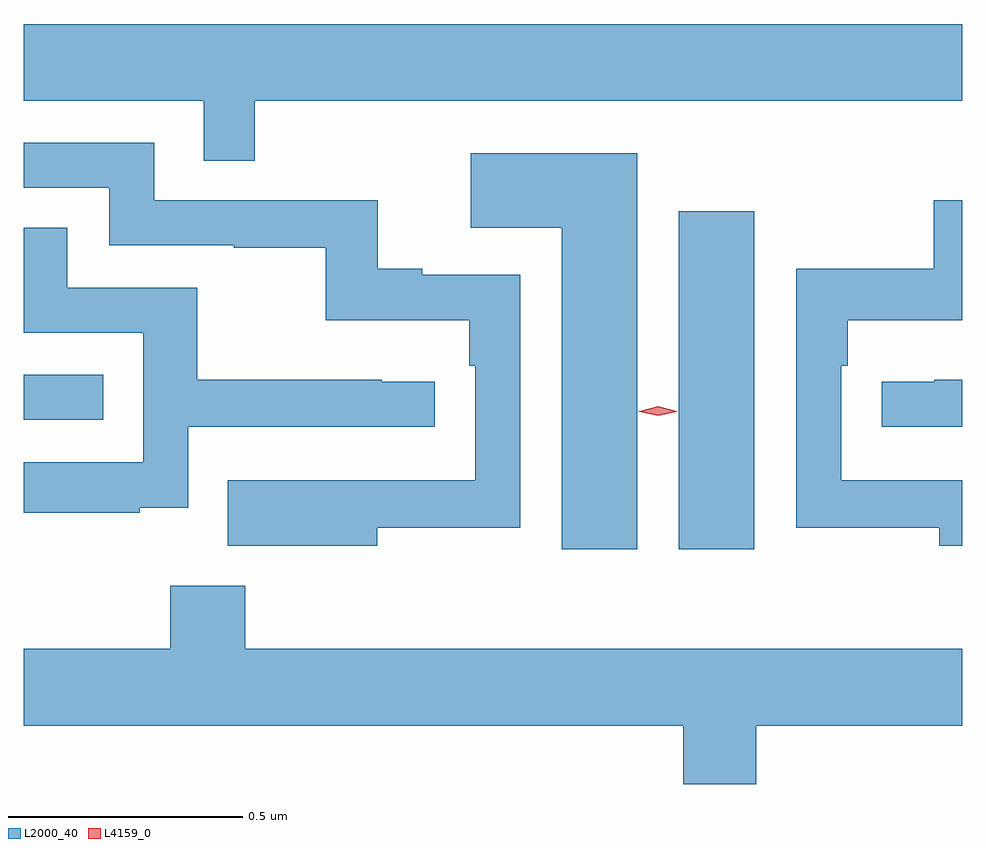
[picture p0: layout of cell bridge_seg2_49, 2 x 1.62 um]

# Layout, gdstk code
import gdstk
lib = gdstk.Library(unit=1e-6, precision=1e-09)
def R(c, l, rs):  # rectangles x0, y0, x1, y1
    for r in rs: c.add(gdstk.rectangle(r[:2], r[2:], *l))
def P(c, l, *ps):  # polygons
    for p in ps: c.add(gdstk.Polygon(p, *l))
L2000_40 = (2000, 40)
L4159_0 = (4159, 0)

bridge_seg2_49 = lib.new_cell('bridge_seg2_49')
R(bridge_seg2_49, L2000_40, [(975.656,622.704,975.817,623.425), (974.26,622.98,974.429,623.076)])
P(bridge_seg2_49, L2000_40, [(974.752,623.66),(976.26,623.66),(976.26,623.824),(974.26,623.824),(974.26,623.66),(974.643,623.66),(974.643,623.533),(974.752,623.533)],
  [(975.013,622.75),(975.318,622.75),(975.318,623.289),(975.109,623.289),(975.109,623.302),(975.014,623.302),(975.014,623.448),(974.538,623.448),(974.538,623.571),(974.26,623.571),(974.26,623.475),(974.442,623.475),(974.442,623.352),(974.707,623.352),(974.707,623.347),(974.904,623.347),(974.904,623.192),(975.209,623.192),(975.209,623.096),(975.222,623.096),(975.222,622.851),(974.909,622.851),(974.909,622.852),(974.695,622.852),(974.695,622.712),(975.013,622.712)],
  [(975.568,623.548),(975.213,623.548),(975.213,623.39),(975.407,623.39),(975.407,622.704),(975.568,622.704)],
  [(976.26,622.851),(976.002,622.851),(976.002,623.096),(976.016,623.096),(976.016,623.192),(976.26,623.192),(976.26,623.448),(976.2,623.448),(976.2,623.302),(975.906,623.302),(975.906,622.75),(976.211,622.75),(976.211,622.712),(976.26,622.712)],
  [(974.507,622.793),(974.61,622.793),(974.61,622.965),(975.136,622.965),(975.136,623.061),(975.023,623.061),(975.023,623.066),(974.63,623.066),(974.63,623.262),(974.353,623.262),(974.353,623.39),(974.26,623.39),(974.26,623.166),(974.514,623.166),(974.514,622.89),(974.26,622.89),(974.26,622.782),(974.507,622.782)],
  [(976.26,623.066),(976.201,623.066),(976.201,623.061),(976.089,623.061),(976.089,622.965),(976.26,622.965)],
  [(975.821,622.328),(976.26,622.328),(976.26,622.492),(974.732,622.492),(974.732,622.627),(974.572,622.627),(974.572,622.492),(974.26,622.492),(974.26,622.328),(975.665,622.328),(975.665,622.204),(975.821,622.204)])
P(bridge_seg2_49, L4159_0, [(975.612,622.989),(975.572,622.998),(975.571,622.999),(975.572,622.999),(975.612,623.009),(975.652,622.999),(975.652,622.999),(975.652,622.998)])

lib.write_gds('bridge_seg2_49.gds')
